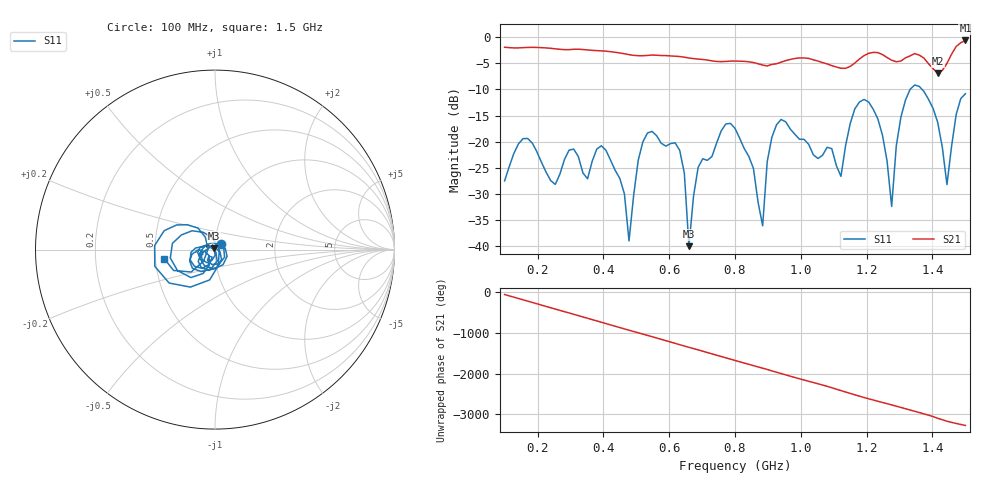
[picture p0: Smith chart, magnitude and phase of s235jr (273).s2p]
! NanoVNA-App
! Date: 2025-09-25 15:06:17
! Start: 100MHz Stop: 1,5GHz Points: 101
! S-Parameter data: F S11 S21 S12 S22
# Hz S RI R 50
!  Frequency  S11_Real  S11_Imag  S21_Real  S21_Imag  S12_Real  S12_Imag  S22_Real  S22_Imag
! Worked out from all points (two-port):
!   101 points, 100 MHz to 1.5 GHz, reference 50 ohm
!   highest |S21| = -0.66 dB at 1.5 GHz (marker M1); lowest = -6.9 dB at 1.416 GHz (marker M2)
!   |S21| within 3 dB of the highest: start of sweep to 617.1 MHz; 1.19 GHz to 1.256 GHz (65.8 MHz wide, 5.38 % of centre) (the widest 2 of 4)
!   lowest |S11| = -39.9 dB at 660 MHz (marker M3), VSWR 1.02, Z = 49.2 + j0.644 ohm
!   |S11| at or under -10 dB: start of sweep to 1.332 GHz; 1.368 GHz to end of sweep
!   S12 and S22 are empty: the file has one direction only
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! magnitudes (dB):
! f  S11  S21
! 100 MHz  -27.5  -2.0
! 156 MHz  -19.4  -2.0
! 338 MHz  -26.0  -2.4
! 408 MHz  -21.6  -2.7
! 478 MHz  -38.9  -3.4
! 520 MHz  -20.0  -3.6
! 576 MHz  -20.3  -3.5
! 632 MHz  -21.6  -3.7
! 660 MHz  -39.9  -4.0
! 688 MHz  -24.9  -4.2
! 800 MHz  -17.4  -4.6
! 884 MHz  -36.0  -5.4
! 926 MHz  -16.8  -5.1
! 1.038 GHz  -22.5  -4.4
! 1.122 GHz  -26.6  -6.0
! 1.206 GHz  -12.4  -3.1
! 1.276 GHz  -32.4  -4.4
! 1.29 GHz  -20.8  -4.7
! 1.332 GHz  -10.0  -3.6
! 1.416 GHz  -16.3  -6.9
! 1.444 GHz  -28.2  -5.0
! 1.5 GHz  -10.8  -0.7
